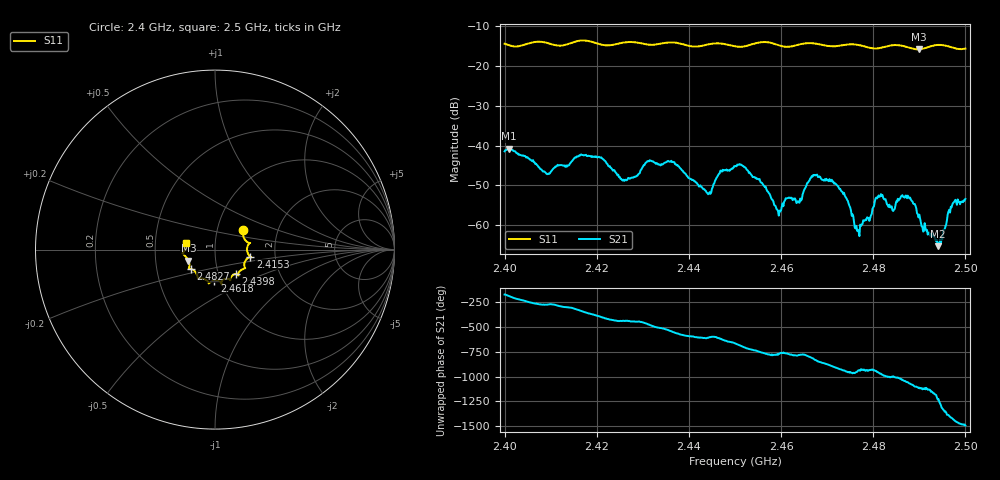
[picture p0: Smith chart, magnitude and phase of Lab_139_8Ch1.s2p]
# Hz S RI R 50
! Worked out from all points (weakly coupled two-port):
!   601 points, 2.4 GHz to 2.5 GHz, reference 50 ohm
!   highest |S21| = -40.79 dB at 2.401 GHz (marker M1); lowest = -65.2 dB at 2.494 GHz (marker M2)
!   lowest |S11| = -15.9 dB at 2.4898 GHz (marker M3), VSWR 1.38, Z = 36.9 - j4.62 ohm
!   |S11| at or under -10 dB: start of sweep to end of sweep
!   S12 and S22 are empty: the file has one direction only
!   S11 on the Smith chart (normalised r, x): 2.4 GHz: 1.33, +0.29; 2.4153 GHz: 1.48, -0.12; 2.4398 GHz: 1.21, -0.34; 2.4618 GHz: 0.94, -0.33; 2.4827 GHz: 0.75, -0.17; 2.5 GHz: 0.72, +0.06
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2.4e9  0.1553 0.1066  -0.00847 -0.000314  0 0  0 0
2.401e9  0.1552 0.091  -0.00888 0.00212  0 0  0 0
2.409333e9  0.1893 0.0324  0.000667 0.00433  0 0  0 0
2.415333e9  0.1963 -0.0392  0.00556 0.00442  0 0  0 0
2.416667e9  0.2022 -0.043  0.00737 0.00224  0 0  0 0
2.426e9  0.1671 -0.1016  0.000412 -0.00358  0 0  0 0
2.433333e9  0.1296 -0.1341  -0.00494 -0.00298  0 0  0 0
2.439833e9  0.1151 -0.1356  -0.00237 0.00319  0 0  0 0
2.444333e9  0.0845 -0.1652  -0.000906 0.00232  0 0  0 0
2.45e9  0.0652 -0.1624  0.00335 0.00434  0 0  0 0
2.4595e9  0.0263 -0.1783  0.000818 -0.00104  0 0  0 0
2.461833e9  -0.00332 -0.1729  0.00118 -0.00188  0 0  0 0
2.466667e9  -0.0349 -0.1883  -0.000189 -0.00414  0 0  0 0
2.472333e9  -0.0742 -0.1602  -0.00293 0.00105  0 0  0 0
2.4765e9  -0.096 -0.1557  -0.000529 0.000672  0 0  0 0
2.482667e9  -0.1348 -0.1085  0.000213 0.00212  0 0  0 0
2.483333e9  -0.1399 -0.1081  0.000331 0.00167  0 0  0 0
2.4875e9  -0.1428 -0.0926  0.00215 0.000951  0 0  0 0
2.489833e9  -0.1481 -0.0611  0.00102 -0.00073  0 0  0 0
2.494e9  -0.1806 -0.0223  -0.000478 -0.00027  0 0  0 0
2.497333e9  -0.1677 -0.00344  0.00186 0.000402  0 0  0 0
2.5e9  -0.1592 0.0388  0.00137 -0.00164  0 0  0 0
